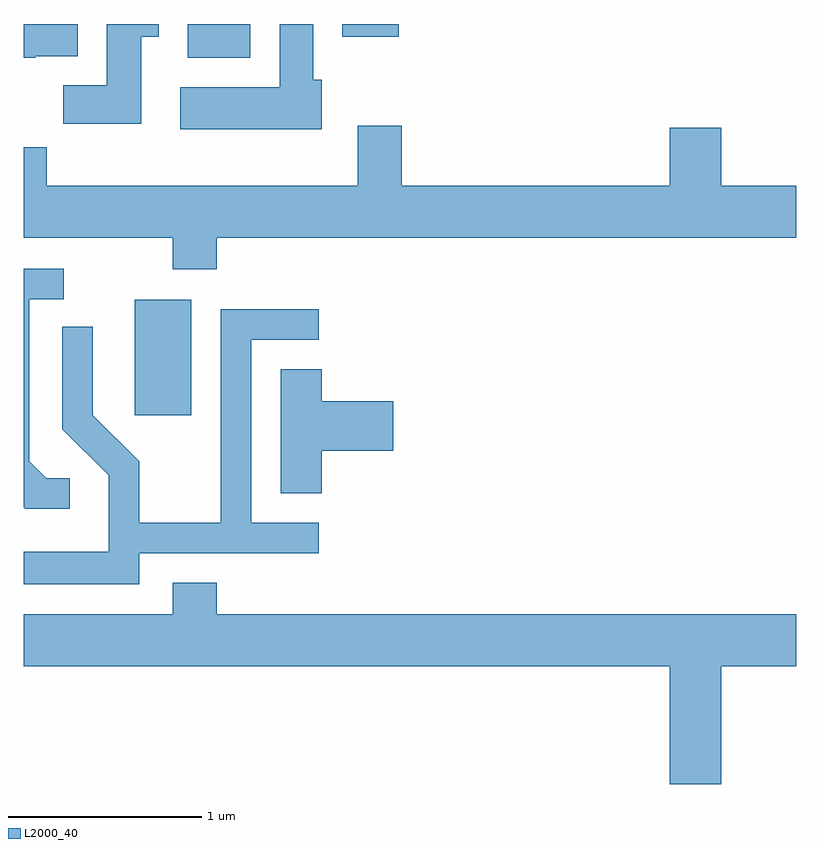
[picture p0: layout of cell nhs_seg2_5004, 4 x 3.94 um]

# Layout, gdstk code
import gdstk
lib = gdstk.Library(unit=1e-6, precision=1e-09)
def R(c, l, rs):  # rectangles x0, y0, x1, y1
    for r in rs: c.add(gdstk.rectangle(r[:2], r[2:], *l))
def P(c, l, *ps):  # polygons
    for p in ps: c.add(gdstk.Polygon(p, *l))
L2000_40 = (2000, 40)

nhs_seg2_5004 = lib.new_cell('nhs_seg2_5004')
R(nhs_seg2_5004, L2000_40, [(332.186,1111.776,332.479,1112.374), (332.461,1113.626,332.784,1113.802), (333.261,1113.736,333.554,1113.802)])
P(nhs_seg2_5004, L2000_40, [(331.67,1113.636),(331.889,1113.636),(331.889,1113.802),(331.611,1113.802),(331.611,1113.626),(331.67,1113.626)],
  [(332.219,1113.736),(332.309,1113.736),(332.309,1113.802),(332.041,1113.802),(332.041,1113.484),(331.816,1113.484),(331.816,1113.286),(332.219,1113.286)],
  [(333.154,1113.514),(333.109,1113.514),(333.109,1113.802),(332.936,1113.802),(332.936,1113.474),(332.421,1113.474),(332.421,1113.256),(333.154,1113.256)],
  [(331.611,1113.164),(331.611,1112.696),(332.381,1112.696),(332.381,1112.531),(332.609,1112.531),(332.609,1112.696),(335.611,1112.696),(335.611,1112.964),(335.224,1112.964),(335.224,1113.264),(334.956,1113.264),(334.956,1112.964),(333.569,1112.964),(333.569,1113.274),(333.341,1113.274),(333.341,1112.964),(331.729,1112.964),(331.729,1113.164)],
  [(331.848,1111.449),(331.727,1111.449),(331.639,1111.537),(331.639,1112.376),(331.818,1112.376),(331.818,1112.534),(331.611,1112.534),(331.611,1111.299),(331.619,1111.291),(331.848,1111.291)],
  [(332.209,1111.061),(333.138,1111.061),(333.138,1111.219),(332.789,1111.219),(332.789,1112.166),(333.138,1112.166),(333.138,1112.324),(332.631,1112.324),(332.631,1111.219),(332.209,1111.219),(332.209,1111.537),(331.969,1111.777),(331.969,1112.233),(331.811,1112.233),(331.811,1111.704),(332.051,1111.464),(332.051,1111.069),(331.611,1111.069),(331.611,1110.901),(332.209,1110.901)],
  [(333.154,1111.591),(333.524,1111.591),(333.524,1111.849),(333.154,1111.849),(333.154,1112.014),(332.941,1112.014),(332.941,1111.371),(333.154,1111.371)],
  [(335.224,1110.476),(335.611,1110.476),(335.611,1110.744),(332.609,1110.744),(332.609,1110.909),(332.381,1110.909),(332.381,1110.744),(331.611,1110.744),(331.611,1110.476),(334.956,1110.476),(334.956,1109.866),(335.224,1109.866)])

lib.write_gds('nhs_seg2_5004.gds')
